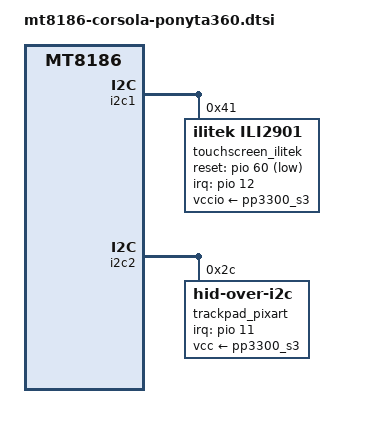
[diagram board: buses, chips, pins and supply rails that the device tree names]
// SPDX-License-Identifier: (GPL-2.0 OR MIT)
/*
 * Copyright 2025 Google LLC
 */

/dts-v1/;
#include "mt8186-corsola-ponyta.dtsi"

&i2c1 {
	touchscreen_ilitek: touchscreen@41 {
		compatible = "ilitek,ili2901";
		reg = <0x41>;
		interrupts-extended = <&pio 12 IRQ_TYPE_LEVEL_LOW>;
		pinctrl-names = "default";
		pinctrl-0 = <&touchscreen_pins>;
		panel = <&panel>;
		reset-gpios = <&pio 60 GPIO_ACTIVE_LOW>;
		vccio-supply = <&pp3300_s3>;
	};
};

&i2c2 {
	i2c-scl-internal-delay-ns = <22000>;

	trackpad_pixart: trackpad@2c {
		compatible = "hid-over-i2c";
		reg = <0x2c>;
		hid-descr-addr = <0x20>;
		interrupts-extended = <&pio 11 IRQ_TYPE_LEVEL_LOW>;
		vcc-supply = <&pp3300_s3>;
		wakeup-source;
	};
};

&keyboard_controller {
	function-row-physmap = <
		MATRIX_KEY(0x00, 0x02, 0)	/* T1 */
		MATRIX_KEY(0x03, 0x02, 0)	/* T2 */
		MATRIX_KEY(0x02, 0x02, 0)	/* T3 */
		MATRIX_KEY(0x01, 0x02, 0)	/* T4 */
		MATRIX_KEY(0x03, 0x04, 0)	/* T5 */
		MATRIX_KEY(0x02, 0x04, 0)	/* T6 */
		MATRIX_KEY(0x01, 0x04, 0)	/* T7 */
		MATRIX_KEY(0x00, 0x04, 0)	/* T8 */
		MATRIX_KEY(0x00, 0x01, 0)	/* T9 */
		MATRIX_KEY(0x02, 0x09, 0)	/* T10 */
	>;

	linux,keymap = <
		CROS_STD_MAIN_KEYMAP
		MATRIX_KEY(0x00, 0x02, KEY_BACK)
		MATRIX_KEY(0x03, 0x02, KEY_FORWARD)
		MATRIX_KEY(0x02, 0x02, KEY_REFRESH)
		MATRIX_KEY(0x01, 0x02, KEY_ZOOM)
		MATRIX_KEY(0x03, 0x04, KEY_SCALE)
		MATRIX_KEY(0x02, 0x04, KEY_BRIGHTNESSDOWN)
		MATRIX_KEY(0x01, 0x04, KEY_BRIGHTNESSUP)
		MATRIX_KEY(0x00, 0x04, KEY_MUTE)
		MATRIX_KEY(0x00, 0x01, KEY_VOLUMEDOWN)
		MATRIX_KEY(0x02, 0x09, KEY_VOLUMEUP)
		MATRIX_KEY(0x00, 0x07, KEY_MUHENKAN)
		MATRIX_KEY(0x00, 0x09, KEY_HENKAN)
	>;
};

&mt6366codec {
	mediatek,dmic-mode = <0>; /* two-wires */
};

&touchscreen {
	status = "disabled";
};
